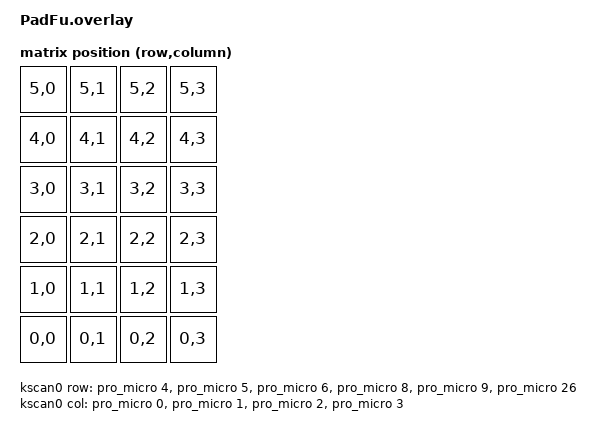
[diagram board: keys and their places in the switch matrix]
#include <dt-bindings/zmk/matrix_transform.h>

/ {
    /* Keyboard scan matrix – like in the docs */
    kscan0: kscan0 {
        compatible = "zmk,kscan-gpio-matrix";
        diode-direction = "col2row";
        wakeup-source;

        /* COLUMNS: driven outputs */
        col-gpios =
            <&pro_micro 0 GPIO_ACTIVE_HIGH>,  // Col 0
            <&pro_micro 1 GPIO_ACTIVE_HIGH>,  // Col 1
            <&pro_micro 2 GPIO_ACTIVE_HIGH>, // Col 2
            <&pro_micro 3 GPIO_ACTIVE_HIGH>; // Col 3

        // ROWS — inputs, pull-down = idle low, detect high state
        row-gpios =
            <&pro_micro 4  (GPIO_ACTIVE_HIGH | GPIO_PULL_DOWN)>, // Row 0
            <&pro_micro 5  (GPIO_ACTIVE_HIGH | GPIO_PULL_DOWN)>, // Row 1
            <&pro_micro 6  (GPIO_ACTIVE_HIGH | GPIO_PULL_DOWN)>, // Row 2
            <&pro_micro 8  (GPIO_ACTIVE_HIGH | GPIO_PULL_DOWN)>, // Row 3
            <&pro_micro 9  (GPIO_ACTIVE_HIGH | GPIO_PULL_DOWN)>, // Row 4 <-- NEED CORRECT PIN
            <&pro_micro 26 (GPIO_ACTIVE_HIGH | GPIO_PULL_DOWN)>; // Row 5
    };

    /* Matrix transform – same numbers, just renamed */
    keymap_transform0: keymap_transform0 {
        compatible = "zmk,matrix-transform";
        columns = <4>;
        rows = <6>;

        /* flipped vertically because of how your rows are wired */
        map = <
            RC(5,0) RC(5,1) RC(5,2) RC(5,3)
            RC(4,0) RC(4,1) RC(4,2) RC(4,3)
            RC(3,0) RC(3,1) RC(3,2) RC(3,3)
            RC(2,0) RC(2,1) RC(2,2) RC(2,3)
            RC(1,0) RC(1,1) RC(1,2) RC(1,3)
            RC(0,0) RC(0,1) RC(0,2) RC(0,3)
        >;
    };

    /* Physical layout wrapper as in the docs */
    physical_layout0: physical_layout_0 {
        compatible = "zmk,physical-layout";
        display-name = "PadFu";
        kscan = <&kscan0>;
        transform = <&keymap_transform0>;
    };

    /* Chosen node exactly like the guide */
    chosen {
        zmk,kscan = &kscan0;
        zmk,physical-layout = &physical_layout0;
        /* (optional) zmk,matrix_transform = &keymap_transform0; */
    };
};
